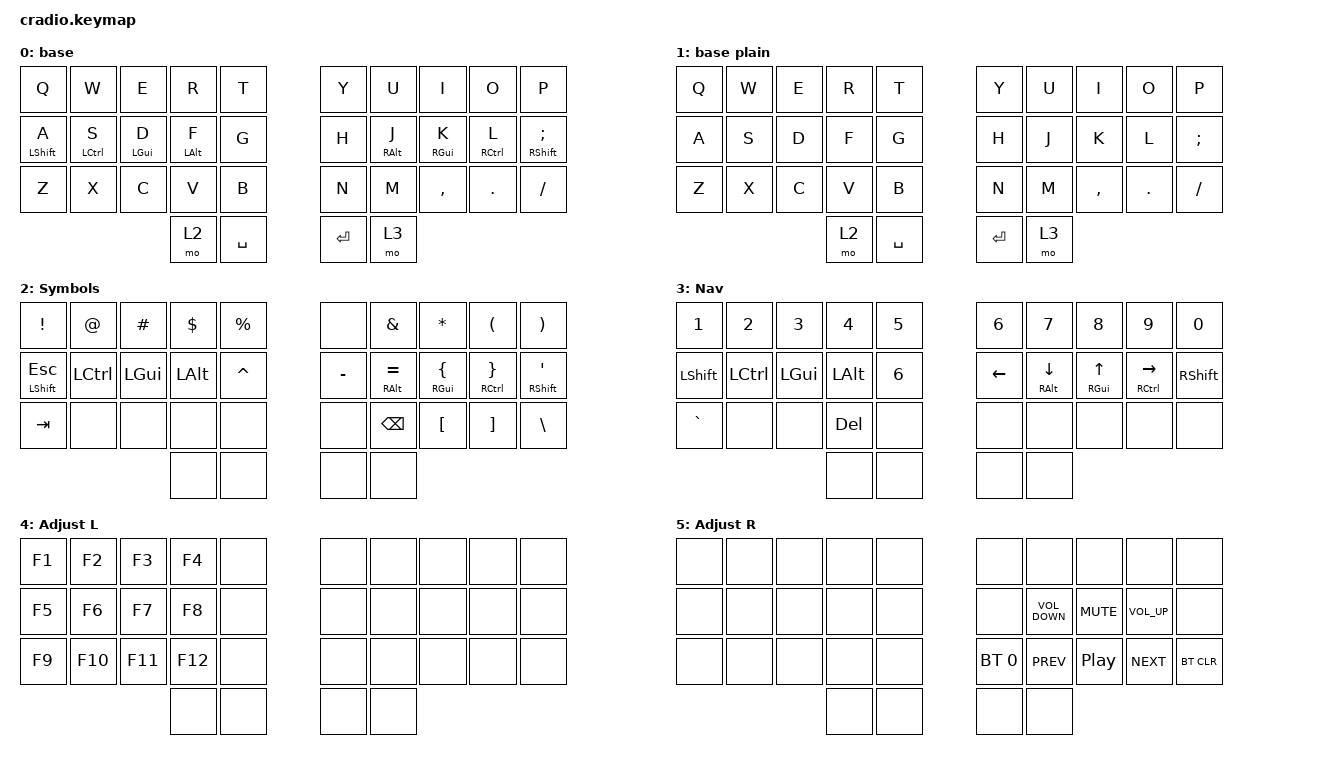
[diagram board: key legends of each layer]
// Copyright (c) 2022 The ZMK Contributors
// SPDX-License-Identifier: MIT

#define ZMK_POINTING_DEFAULT_MOVE_VAL 2500  // 600
#define ZMK_POINTING_DEFAULT_SCRL_VAL 20    // 10

#include <behaviors.dtsi>
#include <dt-bindings/zmk/bt.h>
#include <dt-bindings/zmk/keys.h>

#define MAC 0
#define WIN 1
#define RIG 2
#define LEF 3
#define TRI 4
#define MOUSE 5

// https: //zmk.dev/docs/development/hardware-integration/soft-off-setup?advanced-methods=wakeup&kscan-type=dkscan

/ {
    keys {
        compatible = "gpio-keys";

        soft_off_gpio_key: soft_off_gpio_key { gpios = <&gpio1 6 (GPIO_ACTIVE_LOW | GPIO_PULL_UP)>; };
    };

    wakeup_scan: wakeup_scan {
        compatible = "zmk,kscan-gpio-direct";
        input-keys = <&soft_off_gpio_key>;
        wakeup-source;
    };

    side_band_behavior_triggers: side_band_behavior_triggers {
        compatible = "zmk,kscan-sideband-behaviors";
        kscan = <&wakeup_scan>;
        auto-enable;
        wakeup-source;
    };

    soft_off_wakers {
        compatible = "zmk,soft-off-wakeup-sources";
        wakeup-sources = <&wakeup_scan>;
    };
};

/ {
    behaviors {
        hml: home_row_mod_left {
            compatible = "zmk,behavior-hold-tap";
            #binding-cells = <2>;
            flavor = "balanced";
            tapping-term-ms = <200>;
            quick-tap-ms = <150>;
            bindings = <&kp>, <&kp>;

            require-prior-idle-ms = <50>;
            hold-trigger-on-release;
            hold-trigger-key-positions = <32 33 26 25 15 16 19 17 27 28 29 5 6 7 8 9 18 19>;
        };

        hmr: home_row_mod_right {
            compatible = "zmk,behavior-hold-tap";
            #binding-cells = <2>;
            flavor = "balanced";
            tapping-term-ms = <200>;
            quick-tap-ms = <150>;
            bindings = <&kp>, <&kp>;

            require-prior-idle-ms = <50>;
            hold-trigger-on-release;
            hold-trigger-key-positions = <0 1 2 3 4 10 11 12 13 14 20 21 22 23 24 30 31>;
        };

        mmv {
            acceleration-exponent = <1>;      // 1
            time-to-max-speed-ms = <300>;    // 40
            delay-ms = <0>;                   // 0
        };

        msc {
            acceleration-exponent = <0>;      // 0
            time-to-max-speed-ms = <40>;      // 500
            delay-ms = <0>;                   // 10
        };
    };

    conditional_layers { compatible = "zmk,conditional-layers"; };

    combos {
        compatible = "zmk,combos";

        esc {
            bindings = <&kp ESCAPE>;
            key-positions = <12 17>;
        };

        caps {
            bindings = <&kp CAPSLOCK>;
            key-positions = <10 19>;
        };

        lang {
            bindings = <&kp LG(SPACE)>;
            key-positions = <2 7>;
        };

        adj_left {
            bindings = <&mo 4>;
            key-positions = <6 9>;
        };

        adj_right {
            bindings = <&mo 5>;
            key-positions = <0 3>;
        };

        plain_base {
            bindings = <&tog 1>;
            key-positions = <20 29>;
        };
    };

    keymap {
        compatible = "zmk,keymap";

        en {
            display-name = "base";
            bindings = <
&kp Q              &kp W                &kp E            &kp R            &kp T        &kp Y      &kp U             &kp I             &kp O                 &kp P
&hml LEFT_SHIFT A  &hml LEFT_CONTROL S  &hml LEFT_GUI D  &hml LEFT_ALT F  &kp G        &kp H      &hmr RIGHT_ALT J  &hmr RIGHT_GUI K  &hmr RIGHT_CONTROL L  &hmr RIGHT_SHIFT SEMICOLON
&kp Z              &kp X                &kp C            &kp V            &kp B        &kp N      &kp M             &kp COMMA         &kp DOT               &kp SLASH
                                                         &mo 2            &kp SPACE    &kp ENTER  &mo 3
            >;
        };

        // Keep the plain base below momentary layers so Symbols/Nav/Adjust can override it.
        en_plain {
            display-name = "base plain";
            bindings = <
&kp Q  &kp W  &kp E  &kp R  &kp T  &kp Y  &kp U  &kp I      &kp O    &kp P
&kp A  &kp S  &kp D  &kp F  &kp G  &kp H  &kp J  &kp K      &kp L    &kp SEMICOLON
&kp Z  &kp X  &kp C  &kp V  &kp B  &kp N  &kp M  &kp COMMA  &kp DOT  &kp SLASH
                            &mo 2   &kp SPACE  &kp ENTER  &mo 3
            >;
        };

        sym_en {
            display-name = "Symbols";
            bindings = <
&kp EXCL                &kp AT            &kp HASH      &kp DLLR      &kp PRCNT      &none      &kp AMPS              &kp ASTRK                  &kp LEFT_PARENTHESIS            &kp RIGHT_PARENTHESIS
&hml LEFT_SHIFT ESCAPE  &kp LEFT_CONTROL  &kp LEFT_GUI  &kp LEFT_ALT  &kp CARET      &kp MINUS  &hmr RIGHT_ALT EQUAL  &hmr RIGHT_GUI LEFT_BRACE  &hmr RIGHT_CONTROL RIGHT_BRACE  &hmr RIGHT_SHIFT SQT
&kp TAB                 &none             &none         &none         &none          &none      &kp BACKSPACE         &kp LEFT_BRACKET           &kp RIGHT_BRACKET               &kp BACKSLASH
                                                        &none         &none          &none      &none
            >;
        };

        nav {
            display-name = "Nav";
            bindings = <
&kp N1          &kp N2            &kp N3        &kp N4        &kp N5          &kp N6       &kp N7                     &kp N8                   &kp N9                    &kp N0
&kp LEFT_SHIFT  &kp LEFT_CONTROL  &kp LEFT_GUI  &kp LEFT_ALT  &kp NUMBER_6    &kp LEFT     &hmr RIGHT_ALT DOWN_ARROW  &hmr RIGHT_GUI UP_ARROW  &hmr RIGHT_CONTROL RIGHT  &kp RIGHT_SHIFT
&kp GRAVE       &none             &none         &kp DELETE    &none           &none       &none                      &none                    &none                     &none
                                                &none         &none           &none        &none
            >;
        };

        adj_left {
            display-name = "Adjust L";
            bindings = <
&kp F1  &kp F2   &kp F3   &kp F4   &none    &none  &none  &none  &none  &none
&kp F5  &kp F6   &kp F7   &kp F8   &none    &none  &none  &none  &none  &none
&kp F9  &kp F10  &kp F11  &kp F12  &none    &none  &none  &none  &none  &none
                          &none    &none    &none  &none
            >;
        };

        adj_right {
            display-name = "Adjust R";
            bindings = <
&none  &none  &none  &none  &none    &none         &none              &none       &none         &none
&none  &none  &none  &none  &none    &none         &kp C_VOLUME_DOWN  &kp K_MUTE  &kp C_VOL_UP  &none
&none  &none  &none  &none  &none    &bt BT_SEL 0  &kp C_PREV         &kp C_PP    &kp C_NEXT    &bt BT_CLR
                        &none    &none    &none         &none
            >;
        };
    };
};
